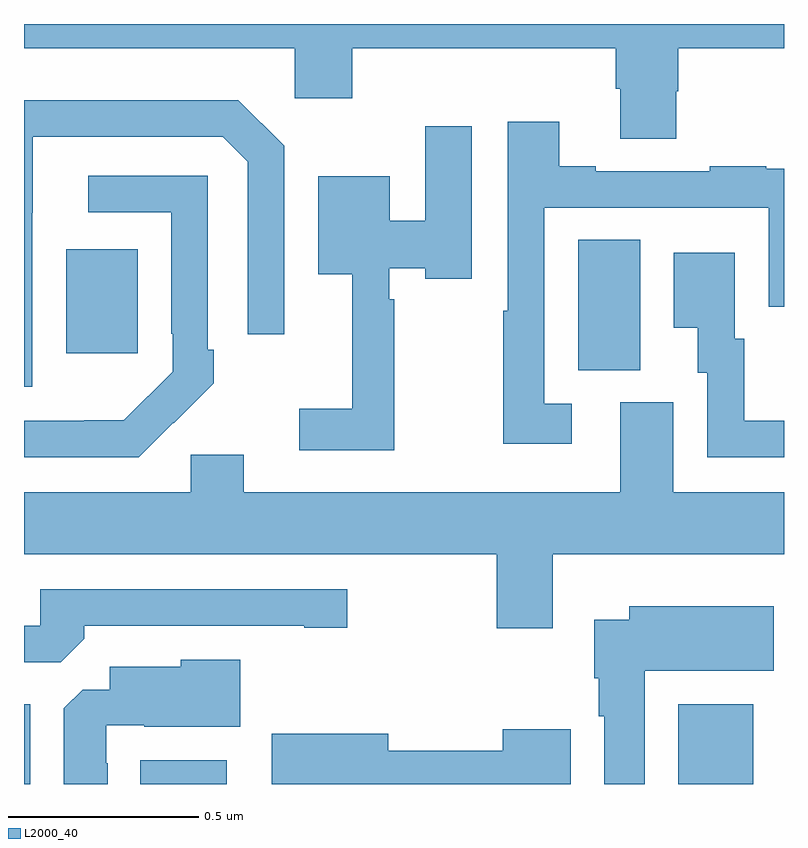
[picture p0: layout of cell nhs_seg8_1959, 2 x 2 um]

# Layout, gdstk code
import gdstk
lib = gdstk.Library(unit=1e-6, precision=1e-09)
def R(c, l, rs):  # rectangles x0, y0, x1, y1
    for r in rs: c.add(gdstk.rectangle(r[:2], r[2:], *l))
def P(c, l, *ps):  # polygons
    for p in ps: c.add(gdstk.Polygon(p, *l))
L2000_40 = (2000, 40)

nhs_seg8_1959 = lib.new_cell('nhs_seg8_1959')
R(nhs_seg8_1959, L2000_40, [(137,1111.9,137.017,1112.11), (137.306,1111.9,137.533,1111.963), (138.722,1111.9,138.919,1112.11), (138.458,1112.989,138.622,1113.332), (137.111,1113.033,137.299,1113.307)])
P(nhs_seg8_1959, L2000_40, [(138.717,1113.723),(138.722,1113.723),(138.722,1113.836),(139,1113.836),(139,1113.9),(137,1113.9),(137,1113.836),(137.712,1113.836),(137.712,1113.705),(137.864,1113.705),(137.864,1113.836),(138.557,1113.836),(138.557,1113.73),(138.569,1113.73),(138.569,1113.598),(138.717,1113.598)],
  [(137.022,1113.403),(137.023,1113.403),(137.023,1113.603),(137.523,1113.603),(137.589,1113.537),(137.589,1113.084),(137.685,1113.084),(137.685,1113.579),(137.564,1113.7),(137,1113.7),(137,1112.946),(137.022,1112.946)],
  [(138.442,1112.901),(138.369,1112.901),(138.369,1113.417),(138.96,1113.417),(138.96,1113.156),(139,1113.156),(139,1113.519),(138.953,1113.519),(138.953,1113.526),(138.805,1113.526),(138.805,1113.513),(138.505,1113.513),(138.505,1113.526),(138.409,1113.526),(138.409,1113.643),(138.273,1113.643),(138.273,1113.146),(138.261,1113.146),(138.261,1112.796),(138.442,1112.796)],
  [(137.974,1113.176),(137.961,1113.176),(137.961,1113.257),(138.056,1113.257),(138.056,1113.23),(138.178,1113.23),(138.178,1113.631),(138.056,1113.631),(138.056,1113.382),(137.962,1113.382),(137.962,1113.499),(137.774,1113.499),(137.774,1113.242),(137.864,1113.242),(137.864,1112.887),(137.724,1112.887),(137.724,1112.778),(137.974,1112.778)],
  [(137.393,1112.851),(137.394,1112.85),(137.499,1112.955),(137.499,1113.043),(137.484,1113.043),(137.484,1113.501),(137.169,1113.501),(137.169,1113.405),(137.388,1113.405),(137.388,1113.085),(137.391,1113.085),(137.391,1112.985),(137.263,1112.857),(137.159,1112.857),(137.159,1112.856),(137,1112.856),(137,1112.76),(137.302,1112.76)],
  [(139,1112.856),(138.895,1112.856),(138.895,1113.072),(138.871,1113.072),(138.871,1113.298),(138.71,1113.298),(138.71,1113.101),(138.773,1113.101),(138.773,1112.982),(138.798,1112.982),(138.798,1112.76),(139,1112.76)],
  [(138.391,1112.504),(139,1112.504),(139,1112.668),(138.709,1112.668),(138.709,1112.904),(138.569,1112.904),(138.569,1112.668),(137.578,1112.668),(137.578,1112.766),(137.439,1112.766),(137.439,1112.668),(137,1112.668),(137,1112.504),(138.244,1112.504),(138.244,1112.31),(138.391,1112.31)],
  [(137.159,1112.282),(137.159,1112.316),(137.738,1112.316),(137.738,1112.311),(137.851,1112.311),(137.851,1112.412),(137.043,1112.412),(137.043,1112.316),(137,1112.316),(137,1112.22),(137.097,1112.22)],
  [(138.634,1112.198),(138.973,1112.198),(138.973,1112.368),(138.593,1112.368),(138.593,1112.332),(138.5,1112.332),(138.5,1112.178),(138.512,1112.178),(138.512,1112.078),(138.527,1112.078),(138.527,1111.9),(138.634,1111.9)],
  [(137.221,1111.955),(137.217,1111.955),(137.217,1112.055),(137.317,1112.055),(137.317,1112.051),(137.569,1112.051),(137.569,1112.227),(137.412,1112.227),(137.412,1112.209),(137.225,1112.209),(137.225,1112.148),(137.154,1112.148),(137.105,1112.099),(137.105,1111.9),(137.221,1111.9)],
  [(138.439,1112.044),(138.26,1112.044),(138.26,1111.988),(137.959,1111.988),(137.959,1112.032),(137.652,1112.032),(137.652,1111.9),(138.439,1111.9)])

lib.write_gds('nhs_seg8_1959.gds')
